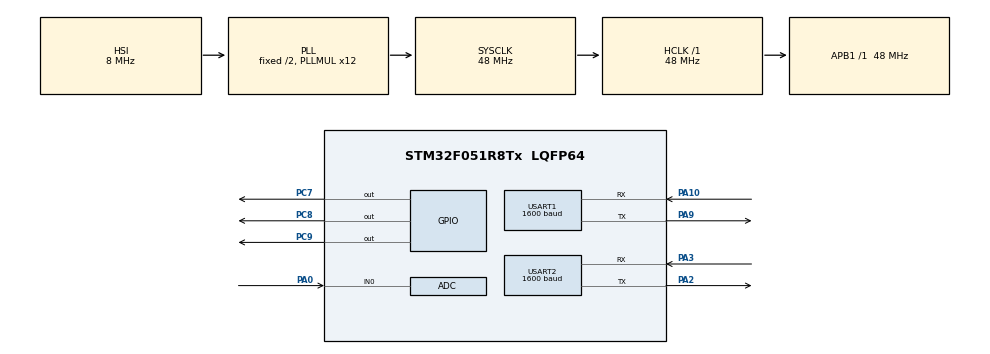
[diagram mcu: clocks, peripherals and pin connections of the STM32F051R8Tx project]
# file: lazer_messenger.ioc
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ADC.ClockPrescaler=ADC_CLOCK_SYNC_PCLK_DIV4
ADC.ContinuousConvMode=DISABLE
ADC.DMAContinuousRequests=DISABLE
ADC.DataAlign=ADC_DATAALIGN_RIGHT
ADC.DiscontinuousConvMode=DISABLE
ADC.EOCSelection=ADC_EOC_SINGLE_CONV
ADC.EnableAnalogWatchDog=false
ADC.ExternalTrigConv=ADC_SOFTWARE_START
ADC.ExternalTrigConvEdge=ADC_EXTERNALTRIGCONVEDGE_NONE
ADC.LowPowerAutoPowerOff=DISABLE
ADC.LowPowerAutoWait=DISABLE
ADC.Overrun=ADC_OVR_DATA_PRESERVED
ADC.Resolution=ADC_RESOLUTION_12B
ADC.SamplingTime=ADC_SAMPLETIME_1CYCLE_5
ADC.ScanConvMode=ADC_SCAN_DIRECTION_FORWARD
Mcu.Family=STM32F0
Mcu.Name=STM32F051R8Tx
Mcu.Package=LQFP64
NVIC.ADC1_COMP_IRQn=true\:0\:0\:false\:false\:true\:true
NVIC.TIM2_IRQn=true\:0\:0\:false\:false\:true\:true
NVIC.USART1_IRQn=true\:0\:0\:false\:false\:true\:true
NVIC.USART2_IRQn=true\:0\:0\:false\:false\:true\:true
PA0.Mode=IN0
PA0.Signal=ADC_IN0
PA10.Mode=Asynchronous
PA10.Signal=USART1_RX
PA13.Mode=Serial_Wire
PA13.Signal=SYS_SWDIO
PA14.Mode=Serial_Wire
PA14.Signal=SYS_SWCLK
PA2.Mode=Asynchronous
PA2.Signal=USART2_TX
PA3.Mode=Asynchronous
PA3.Signal=USART2_RX
PA9.Mode=Asynchronous
PA9.Signal=USART1_TX
PC7.GPIO_ModeDefaultOutputPP=GPIO_MODE_OUTPUT_PP
PC7.GPIO_PuPd=GPIO_NOPULL
PC7.GPIO_Speed=GPIO_SPEED_FREQ_LOW
PC7.PinState=GPIO_PIN_RESET
PC7.Signal=GPIO_Output
PC8.GPIO_ModeDefaultOutputPP=GPIO_MODE_OUTPUT_PP
PC8.GPIO_PuPd=GPIO_NOPULL
PC8.GPIO_Speed=GPIO_SPEED_FREQ_LOW
PC8.PinState=GPIO_PIN_RESET
PC8.Signal=GPIO_Output
PC9.GPIO_ModeDefaultOutputPP=GPIO_MODE_OUTPUT_PP
PC9.GPIO_PuPd=GPIO_NOPULL
PC9.GPIO_Speed=GPIO_SPEED_FREQ_LOW
PC9.PinState=GPIO_PIN_RESET
PC9.Signal=GPIO_Output
ProjectManager.HeapSize=0x200
ProjectManager.StackSize=0x400
ProjectManager.TargetToolchain=SW4STM32
RCC.AHBFreq_Value=48000000
RCC.APB1Freq_Value=48000000
RCC.APB1TimFreq_Value=48000000
RCC.HCLKFreq_Value=48000000
RCC.PLLMUL=RCC_PLL_MUL12
RCC.SYSCLKFreq_VALUE=48000000
RCC.SYSCLKSource=RCC_SYSCLKSOURCE_PLLCLK
TIM2.Period=49
TIM2.Prescaler=48000
USART1.BaudRate=1600
USART1.VirtualMode-Asynchronous=VM_ASYNC
USART2.BaudRate=1600
USART2.DataInvertParam=UART_ADVFEATURE_DATAINV_DISABLE
USART2.RxPinLevelInvertParam=UART_ADVFEATURE_RXINV_DISABLE
USART2.TxPinLevelInvertParam=UART_ADVFEATURE_TXINV_DISABLE
USART2.VirtualMode-Asynchronous=VM_ASYNC
VP_TIM2_VS_ClockSourceINT.Mode=Internal
board=STM32F0DISCOVERY

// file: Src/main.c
/**
  ******************************************************************************
  * File Name          : main.c
  * Description        : Main program body
  ******************************************************************************
  ** This notice applies to any and all portions of this file
  * that are not between comment pairs USER CODE BEGIN and
  * USER CODE END. Other portions of this file, whether
  * inserted by the user or by software development tools
  * are owned by their respective copyright owners.
  *
  * COPYRIGHT(c) 2018 STMicroelectronics
  *
  * Redistribution and use in source and binary forms, with or without modification,
  * are permitted provided that the following conditions are met:
  *   1. Redistributions of source code must retain the above copyright notice,
  *      this list of conditions and the following disclaimer.
  *   2. Redistributions in binary form must reproduce the above copyright notice,
  *      this list of conditions and the following disclaimer in the documentation
  *      and/or other materials provided with the distribution.
  *   3. Neither the name of STMicroelectronics nor the names of its contributors
  *      may be used to endorse or promote products derived from this software
  *      without specific prior written permission.
  *
  * THIS SOFTWARE IS PROVIDED BY THE COPYRIGHT HOLDERS AND CONTRIBUTORS "AS IS"
  * AND ANY EXPRESS OR IMPLIED WARRANTIES, INCLUDING, BUT NOT LIMITED TO, THE
  * IMPLIED WARRANTIES OF MERCHANTABILITY AND FITNESS FOR A PARTICULAR PURPOSE ARE
  * DISCLAIMED. IN NO EVENT SHALL THE COPYRIGHT HOLDER OR CONTRIBUTORS BE LIABLE
  * FOR ANY DIRECT, INDIRECT, INCIDENTAL, SPECIAL, EXEMPLARY, OR CONSEQUENTIAL
  * DAMAGES (INCLUDING, BUT NOT LIMITED TO, PROCUREMENT OF SUBSTITUTE GOODS OR
  * SERVICES; LOSS OF USE, DATA, OR PROFITS; OR BUSINESS INTERRUPTION) HOWEVER
  * CAUSED AND ON ANY THEORY OF LIABILITY, WHETHER IN CONTRACT, STRICT LIABILITY,
  * OR TORT (INCLUDING NEGLIGENCE OR OTHERWISE) ARISING IN ANY WAY OUT OF THE USE
  * OF THIS SOFTWARE, EVEN IF ADVISED OF THE POSSIBILITY OF SUCH DAMAGE.
  *
  ******************************************************************************
  */
#include "main.h"
#include "stm32f0xx_hal.h"

/* USER CODE BEGIN Includes */
//basic C libraries
#include <stdio.h>
#include <string.h>
/* USER CODE END Includes */

ADC_HandleTypeDef hadc;

TIM_HandleTypeDef htim2;

UART_HandleTypeDef huart1;
UART_HandleTypeDef huart2;

/* USER CODE BEGIN PV */
/* Private variables ---------------------------------------------------------*/

//TIMER
int tim2_flag;									//interrupt flag
int count =1;									//counter int

//USART
char Rx_indx1, Rx_data1[2], Rx_Buffer1[100];
char Rx_indx2, Rx_data2[2], Rx_Buffer2[100];
char inputReceived[100];
char messageReceived[100];
int flag_uart;
int flag_message;

//UI
int state = 0;									//state machine

//ADC
int adc_reading = 0;							//ADC value to quantize connection

/* USER CODE END PV */

void SystemClock_Config(void);
static void MX_GPIO_Init(void);
static void MX_USART1_UART_Init(void);
static void MX_TIM2_Init(void);
static void MX_ADC_Init(void);
static void MX_USART2_UART_Init(void);

/* USER CODE BEGIN PFP */
/* Private function prototypes -----------------------------------------------*/
void transmitString(UART_HandleTypeDef *huart, char message[]);
void HAL_UART_RxCpltCallback(UART_HandleTypeDef *huart);
void new_line();
void clearString();
void open_prompt();

/* USER CODE END PFP */

/* USER CODE BEGIN 0 */
void HAL_UART_RxCpltCallback(UART_HandleTypeDef *huart)//Interrupt callback routine
{
	//this callback routine allows the user to parse their data and submit it using a the ENTER key
	//assigns each bit of Rx_data to a char the user input
    uint8_t i;//reusable counter
    uint8_t j;//reusable counter
    if (huart->Instance == USART1)  							//USART1: for getting data to send from user
        {
        if (Rx_indx1==0) {for (i=0;i<100;i++) Rx_Buffer1[i]=0;} //clear Rx_Buffer before receiving new data

        if (Rx_data1[0]!=13) 									//if received data different from ascii 13 (enter)
            {
            Rx_Buffer1[Rx_indx1++]=Rx_data1[0];    				//add data to Rx_Buffer
            }
        else //if received data = 13 (a.k.a. ENTER)
            {
        	flag_uart = 1;										//transfer complete, data is ready to read
        	strcpy(inputReceived, Rx_Buffer1);					//copy the string for use outside the function
        	Rx_Buffer1[Rx_indx1] = 0;							//begin clearing buffer
        	Rx_indx1=0;
			for (i = 0; i < 100; i++) Rx_Buffer1[i] = 0;		// clear buffer
            }
        HAL_UART_Receive_IT(&huart1, Rx_data1, 1);   			//activate UART receive interrupt
        }

    else if (huart->Instance == USART2)  						//USART2: for message reception
		{
    	if (Rx_indx2==0) {for (j=0;j<100;j++) Rx_Buffer2[j]=0;} //clear Rx_Buffer before receiving new data

		if (Rx_data2[0]!=10) 									//if data different from ascii 10 (a.k.a. '\n')
			{
			Rx_Buffer2[Rx_indx2++]=Rx_data2[0];    				//add data to Rx_Buffer
			}
		else
			{
			flag_message = 1;									//transfer complete, data is ready to read
			strcpy(messageReceived, Rx_Buffer2); 				//copy the string for use outside the function
			Rx_Buffer2[Rx_indx2] = 0; 							//begin clearing buffer
			Rx_indx2=0;
			for (j = 0; j < 100; j++) Rx_Buffer2[j] = 0; 		// clear buffer
			}

		HAL_UART_Receive_IT(&huart2, Rx_data2, 1);   			//activate UART receive interrupt every time
		}
}
void transmitString(UART_HandleTypeDef *huart, char* message)
{
	/*
	 * This function takes a string of characters and transmits it via Tx of the STM32F0.
	 * 	- Tx of STM32F0 is connected to the laser diode
	 */
	char buffer[100];											//array for the string
	char blank_line[100];										//array for a blank line
	int tmp;													//length of transmission
	tmp = sprintf(buffer,message);								//format string
    HAL_UART_Transmit(huart, (uint8_t *)message, tmp, 1000);	//display on serial port
    return;
}
void new_line()
{
	char blank_line[100];										//array for a blank line
	int tmp;													//length of transmission
    tmp=sprintf(blank_line,"\n");								//format new line
    HAL_UART_Transmit(&huart1, (uint8_t *)blank_line, tmp, 1000);//display on serial port
    return;
}
void receiveString()
{
    while(flag_uart == 0) //holds for 'Press any key to begin.' feature
    {
    }
    flag_uart = 0;
    return;
}
void clearString( char * string,  int size)  	//This function is used to clear a string
{
	int i = 0;
    for (i = 0; i < size; i++) string[i] = 0; 	// clear buffer
    return;
}
void open_prompt()
{
	char txPromp[100] = 	"  You: ";
	new_line();									//new line for home-screen
	transmitString(&huart1,txPromp);
	return;
}
/* USER CODE END 0 */

int main(void)
{

  /* USER CODE BEGIN 1 */
    int config_flag = 0;
  /* USER CODE END 1 */

  /* MCU Configuration----------------------------------------------------------*/

  /* Reset of all peripherals, Initializes the Flash interface and the Systick. */
  HAL_Init();

  /* Configure the system clock */
  SystemClock_Config();

  /* Initialize all configured peripherals */
  MX_GPIO_Init();
  MX_USART1_UART_Init();
  MX_TIM2_Init();
  MX_ADC_Init();
  MX_USART2_UART_Init();

  /* USER CODE BEGIN 2 */
  	//start peripherals
    HAL_UART_Receive_IT(&huart1, Rx_data1, 1);	//activate UART Rx  w/ interrupts
    HAL_ADC_Start_IT(&hadc);					//enable the ADC w/ interrupts
    HAL_TIM_Base_Start_IT(&htim2);				//start the timer
    HAL_UART_Receive_IT(&huart2, Rx_data2, 1);	//activate laser
    //user interface strings
    char txSTARZ[100]  =   "******************************************************************************* \r\n";
    char txGreet[100]  =   "*************************Hi User, welcome to Lazer-Chat!*********************** \r\n";
    char txReady[100]  =   "***** Press any key to begin. *************************************************";
    char txUname[100]  =   "***** Please enter your name: ";
    char txCalib0[100] =   "***** CALIBRATING... ********************************************************** \r\n";
    char txCalib1[100] =   "***** CALIBRATION COMPLETE. *************************************************** \r\n";
    char txInstr[100]  =   "***** Instructions: to send a message, hit ENTER. For more info type (h) ****** \r\n";
    char txERROR[100]  =   "************************ERROR - RECALIBRATION REQUIRED.************************ \r\n";
    char txHelp1[100]  =   "********************* Welcome to our ECE362 Mini-Project. ********************* \r\n";
    char txHelp2[100]  =   "***** Team Members: *********************************************************** \r\n";
    char txHelp3[100]  =   "******** Bradford Thorne ****************************************************** \r\n";
    char txHelp4[100]  =   "******** Kevin Hunckler ******************************************************* \r\n";
    char txHelp5[100]  =   "******** Sahil Bhalla ********************************************************* \r\n";
    char txHelp6[100]  =   "******** Andrew St. Pierre **************************************************** \r\n";
    //char txHelp6[100]  =   "******************************************************************************* \r\n";
    char name[100];
    char temp[100];
    char blank[100]= "\n";
    char padding[100]= "  ";
    int len;
    int starting = 0;
  /* USER CODE END 2 */

  /* Infinite loop */
  /* USER CODE BEGIN WHILE */
  while (1)
  {
	  	//STATE MACHINE
		if (state == 0)							//turn key functionality
		{
		  transmitString(&huart1,txSTARZ);
		  transmitString(&huart1,txGreet);
		  transmitString(&huart1,txSTARZ);
		  transmitString(&huart1,txReady);
		  receiveString();						//wait for key press
		  new_line();
		  transmitString(&huart1,txSTARZ);

		  state =1;								//advance state
		}
		else if (state==1)						//get user's name
		{
			transmitString(&huart1,txUname);	//prompt for user's name
			receiveString();					//wait until name entered
			new_line();							//new line formatting
			strcpy(name,padding);				//pad w/ two spaced
			strcat(name,inputReceived);			//add user name to variable
			strcat(name,": ");					//formatting new line
			len = strlen(inputReceived);		//get length for clearing
			clearString(inputReceived,len);		//clear buffer
			state = 2;
		}
		else if (state == 2)					//configure laser
		{
			transmitString(&huart1,txCalib0);
		  if (adc_reading >= 2000)				//check for good laser-photodiode connection
		  {
			transmitString(&huart1,txCalib1);
			transmitString(&huart1,txSTARZ);
			state = 3;							//advance state
		  }
		  else
		  {
			transmitString(&huart1,txCalib0);
			transmitString(&huart1,txSTARZ);
			HAL_Delay(750);
			state = 2;							//retain state
		  }
		}
		else if (state == 3)					//initialize chat
		{
			transmitString(&huart1,txSTARZ);
			transmitString(&huart1,txInstr);
			transmitString(&huart1,txSTARZ);
			while (adc_reading <= 2000)
			{}									//wait for good connection to begin chat
			transmitString(&huart2,blank);
			HAL_Delay(200);
			state =5;
		}
		else if (state==4)						//begin chat
		{
			open_prompt();
			state = 5;
		}
		else if (state == 5)
		{
			//user enters a message
			if (flag_uart==1)
			{

				flag_uart = 0;							//clear flag

				//check for help
				if ((inputReceived[0]==104) && (inputReceived[1]==00))	//char 'h' ascII value
				{
					transmitString(&huart1,txSTARZ);
					transmitString(&huart1,txHelp1);
					transmitString(&huart1,txSTARZ);
					transmitString(&huart1,txHelp2);
					transmitString(&huart1,txHelp3);
					transmitString(&huart1,txHelp4);
					transmitString(&huart1,txHelp5);
					transmitString(&huart1,txHelp6);
					transmitString(&huart1,txSTARZ);
					len = strlen(inputReceived);		//get length for clearing
					clearString(inputReceived,len);		//clear buffer
					state = 4;							//prompt for input again
				}
				else
				{
				strcpy(temp,name);				//store in temp
				strcat(temp,inputReceived);		//add user message
				strcat(temp,"\n");				//formatting new line
				transmitString(&huart2,temp);	//send via laser

				len = strlen(inputReceived);	//get length for clearing
				clearString(inputReceived,len);	//clear buffer
				len = strlen(temp);				//get length for clearing
				clearString(temp,len);			//clear buffer
				state = 4;						//repeat state 3
				}
			}
			//user receives a message
			else if (flag_message == 1)
			{
				flag_message = 0;				//clear flag
				strcpy(temp,messageReceived);	//store in temp
				new_line();						//formatting new line
				transmitString(&huart1,temp);	//print to user's screen

				len = strlen(messageReceived);	//get length for clearing
				clearString(messageReceived,len);//clear buffer
				len = strlen(temp);				//get length for clearing
				clearString(temp,len);			//clear buffer
				state = 4;						//repeat state 3
			}
			else state = 5;
		}
		if (config_flag==1)
		{
			config_flag=0;
			new_line();
			transmitString(&huart1,txERROR);	//print error
			state = 2; 							//wait for adc_reading to return to high val
		}
		if (tim2_flag==1)						//interrupt driven
		{
		  tim2_flag=0;							//clear flag
		  if (count == 15)						//slowed down blinking
		  {
			  	count = 0;						//reset counter to 0
				if (adc_reading <= 2000)		//if laser was on photodiode, 2000 was easily broken
				{
				  HAL_GPIO_TogglePin(GPIOC,GPIO_PIN_7);//toggle LED
				  config_flag = 1;
				}
				else if (adc_reading >= 1999)	//connected properly
				{
				  HAL_GPIO_WritePin(GPIOC,GPIO_PIN_7,GPIO_PIN_SET);//set red led to ON
				  config_flag = 0;
				}
		  }
		  else count = count+1;					//increment timer
	   }
  /* USER CODE END WHILE */

  }

}

/** System Clock Configuration
*/
void SystemClock_Config(void)
{

  RCC_OscInitTypeDef RCC_OscInitStruct;
  RCC_ClkInitTypeDef RCC_ClkInitStruct;
  RCC_PeriphCLKInitTypeDef PeriphClkInit;

    /**Initializes the CPU, AHB and APB busses clocks
    */
  RCC_OscInitStruct.OscillatorType = RCC_OSCILLATORTYPE_HSI;
  RCC_OscInitStruct.HSIState = RCC_HSI_ON;
  RCC_OscInitStruct.HSICalibrationValue = 16;
  RCC_OscInitStruct.PLL.PLLState = RCC_PLL_ON;
  RCC_OscInitStruct.PLL.PLLSource = RCC_PLLSOURCE_HSI;
  RCC_OscInitStruct.PLL.PLLMUL = RCC_PLL_MUL12;
  RCC_OscInitStruct.PLL.PREDIV = RCC_PREDIV_DIV1;
  if (HAL_RCC_OscConfig(&RCC_OscInitStruct) != HAL_OK)
  {
    _Error_Handler(__FILE__, __LINE__);
  }

    /**Initializes the CPU, AHB and APB busses clocks
    */
  RCC_ClkInitStruct.ClockType = RCC_CLOCKTYPE_HCLK|RCC_CLOCKTYPE_SYSCLK
                              |RCC_CLOCKTYPE_PCLK1;
  RCC_ClkInitStruct.SYSCLKSource = RCC_SYSCLKSOURCE_PLLCLK;
  RCC_ClkInitStruct.AHBCLKDivider = RCC_SYSCLK_DIV1;
  RCC_ClkInitStruct.APB1CLKDivider = RCC_HCLK_DIV1;

  if (HAL_RCC_ClockConfig(&RCC_ClkInitStruct, FLASH_LATENCY_1) != HAL_OK)
  {
    _Error_Handler(__FILE__, __LINE__);
  }

  PeriphClkInit.PeriphClockSelection = RCC_PERIPHCLK_USART1;
  PeriphClkInit.Usart1ClockSelection = RCC_USART1CLKSOURCE_PCLK1;
  if (HAL_RCCEx_PeriphCLKConfig(&PeriphClkInit) != HAL_OK)
  {
    _Error_Handler(__FILE__, __LINE__);
  }

    /**Configure the Systick interrupt time
    */
  HAL_SYSTICK_Config(HAL_RCC_GetHCLKFreq()/1000);

    /**Configure the Systick
    */
  HAL_SYSTICK_CLKSourceConfig(SYSTICK_CLKSOURCE_HCLK);

  /* SysTick_IRQn interrupt configuration */
  HAL_NVIC_SetPriority(SysTick_IRQn, 0, 0);
}

/* ADC init function */
static void MX_ADC_Init(void)
{

  ADC_ChannelConfTypeDef sConfig;

    /**Configure the global features of the ADC (Clock, Resolution, Data Alignment and number of conversion)
    */
  hadc.Instance = ADC1;
  hadc.Init.ClockPrescaler = ADC_CLOCK_SYNC_PCLK_DIV4;
  hadc.Init.Resolution = ADC_RESOLUTION_12B;
  hadc.Init.DataAlign = ADC_DATAALIGN_RIGHT;
  hadc.Init.ScanConvMode = ADC_SCAN_DIRECTION_FORWARD;
  hadc.Init.EOCSelection = ADC_EOC_SINGLE_CONV;
  hadc.Init.LowPowerAutoWait = DISABLE;
  hadc.Init.LowPowerAutoPowerOff = DISABLE;
  hadc.Init.ContinuousConvMode = DISABLE;
  hadc.Init.DiscontinuousConvMode = DISABLE;
  hadc.Init.ExternalTrigConv = ADC_SOFTWARE_START;
  hadc.Init.ExternalTrigConvEdge = ADC_EXTERNALTRIGCONVEDGE_NONE;
  hadc.Init.DMAContinuousRequests = DISABLE;
  hadc.Init.Overrun = ADC_OVR_DATA_PRESERVED;
  if (HAL_ADC_Init(&hadc) != HAL_OK)
  {
    _Error_Handler(__FILE__, __LINE__);
  }

    /**Configure for the selected ADC regular channel to be converted.
    */
  sConfig.Channel = ADC_CHANNEL_0;
  sConfig.Rank = ADC_RANK_CHANNEL_NUMBER;
  sConfig.SamplingTime = ADC_SAMPLETIME_1CYCLE_5;
  if (HAL_ADC_ConfigChannel(&hadc, &sConfig) != HAL_OK)
  {
    _Error_Handler(__FILE__, __LINE__);
  }

}

/* TIM2 init function */
static void MX_TIM2_Init(void)
{

  TIM_ClockConfigTypeDef sClockSourceConfig;
  TIM_MasterConfigTypeDef sMasterConfig;

  htim2.Instance = TIM2;
  htim2.Init.Prescaler = 48000;
  htim2.Init.CounterMode = TIM_COUNTERMODE_UP;
  htim2.Init.Period = 49;
  htim2.Init.ClockDivision = TIM_CLOCKDIVISION_DIV1;
  htim2.Init.AutoReloadPreload = TIM_AUTORELOAD_PRELOAD_DISABLE;
  if (HAL_TIM_Base_Init(&htim2) != HAL_OK)
  {
    _Error_Handler(__FILE__, __LINE__);
  }

  sClockSourceConfig.ClockSource = TIM_CLOCKSOURCE_INTERNAL;
  if (HAL_TIM_ConfigClockSource(&htim2, &sClockSourceConfig) != HAL_OK)
  {
    _Error_Handler(__FILE__, __LINE__);
  }

  sMasterConfig.MasterOutputTrigger = TIM_TRGO_RESET;
  sMasterConfig.MasterSlaveMode = TIM_MASTERSLAVEMODE_DISABLE;
  if (HAL_TIMEx_MasterConfigSynchronization(&htim2, &sMasterConfig) != HAL_OK)
  {
    _Error_Handler(__FILE__, __LINE__);
  }

}

/* USART1 init function */
static void MX_USART1_UART_Init(void)
{

  huart1.Instance = USART1;
  huart1.Init.BaudRate = 1600;
  huart1.Init.WordLength = UART_WORDLENGTH_8B;
  huart1.Init.StopBits = UART_STOPBITS_1;
  huart1.Init.Parity = UART_PARITY_NONE;
  huart1.Init.Mode = UART_MODE_TX_RX;
  huart1.Init.HwFlowCtl = UART_HWCONTROL_NONE;
  huart1.Init.OverSampling = UART_OVERSAMPLING_16;
  huart1.Init.OneBitSampling = UART_ONE_BIT_SAMPLE_DISABLE;
  huart1.AdvancedInit.AdvFeatureInit = UART_ADVFEATURE_NO_INIT;
  if (HAL_UART_Init(&huart1) != HAL_OK)
  {
    _Error_Handler(__FILE__, __LINE__);
  }

}

/* USART2 init function */
static void MX_USART2_UART_Init(void)
{

  huart2.Instance = USART2;
  huart2.Init.BaudRate = 1600;
  huart2.Init.WordLength = UART_WORDLENGTH_8B;
  huart2.Init.StopBits = UART_STOPBITS_1;
  huart2.Init.Parity = UART_PARITY_NONE;
  huart2.Init.Mode = UART_MODE_TX_RX;
  huart2.Init.HwFlowCtl = UART_HWCONTROL_NONE;
  huart2.Init.OverSampling = UART_OVERSAMPLING_16;
  huart2.Init.OneBitSampling = UART_ONE_BIT_SAMPLE_DISABLE;
  huart2.AdvancedInit.AdvFeatureInit = UART_ADVFEATURE_NO_INIT;
  if (HAL_UART_Init(&huart2) != HAL_OK)
  {
    _Error_Handler(__FILE__, __LINE__);
  }

}

/** Configure pins as
        * Analog
        * Input
        * Output
        * EVENT_OUT
        * EXTI
*/
static void MX_GPIO_Init(void)
{

  GPIO_InitTypeDef GPIO_InitStruct;

  /* GPIO Ports Clock Enable */
  __HAL_RCC_GPIOA_CLK_ENABLE();
  __HAL_RCC_GPIOC_CLK_ENABLE();

  /*Configure GPIO pin Output Level */
  HAL_GPIO_WritePin(GPIOC, GPIO_PIN_7|GPIO_PIN_8|GPIO_PIN_9, GPIO_PIN_RESET);

  /*Configure GPIO pins : PC7 PC8 PC9 */
  GPIO_InitStruct.Pin = GPIO_PIN_7|GPIO_PIN_8|GPIO_PIN_9;
  GPIO_InitStruct.Mode = GPIO_MODE_OUTPUT_PP;
  GPIO_InitStruct.Pull = GPIO_NOPULL;
  GPIO_InitStruct.Speed = GPIO_SPEED_FREQ_LOW;
  HAL_GPIO_Init(GPIOC, &GPIO_InitStruct);

}

void _Error_Handler(char * file, int line)
{
  while(1)
  {
  }
}

/************************ (C) COPYRIGHT STMicroelectronics *****END OF FILE****/
